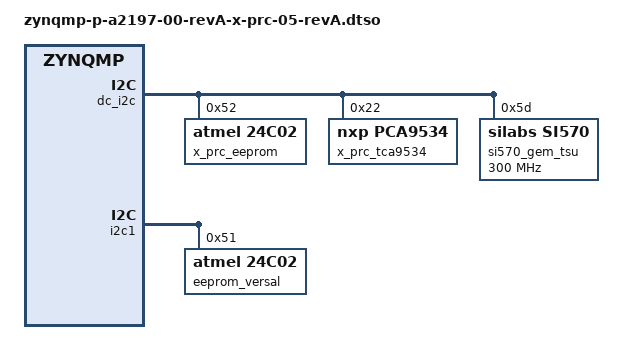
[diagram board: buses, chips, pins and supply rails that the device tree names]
// SPDX-License-Identifier: GPL-2.0
/*
 * dts file for Xilinx ZynqMP System Controller X-PRC-05 revA (SE5)
 *
 * (C) Copyright 2019 - 2022, Xilinx, Inc.
 * (C) Copyright 2022 - 2023, Advanced Micro Devices, Inc.
 *
 * Michal Simek <michal.simek@amd.com>
 */

/dts-v1/;
/plugin/;

/{
	compatible = "xlnx,zynqmp-x-prc-05-revA", "xlnx,zynqmp-x-prc-05";

	fragment@0 {
		target = <&dc_i2c>;

		__overlay__ {
			#address-cells = <1>;
			#size-cells = <0>;

			x_prc_eeprom: eeprom@52 { /* u120 */
				compatible = "atmel,24c02";
				reg = <0x52>;
			};

			x_prc_tca9534: gpio@22 { /* u121 tca9534 */
				compatible = "nxp,pca9534";
				reg = <0x22>;
				gpio-controller; /* IRQ not connected */
				#gpio-cells = <2>;
				gpio-line-names = "sw4_1", "sw4_2", "sw4_3", "sw4_4",
						  "", "", "", "";
				gtr-sel0 {
					gpio-hog;
					gpios = <0 0>;
					input; /* FIXME add meaning */
					line-name = "sw4_1";
				};
				gtr-sel1 {
					gpio-hog;
					gpios = <1 0>;
					input; /* FIXME add meaning */
					line-name = "sw4_2";
				};
				gtr-sel2 {
					gpio-hog;
					gpios = <2 0>;
					input; /* FIXME add meaning */
					line-name = "sw4_3";
				};
				gtr-sel3 {
					gpio-hog;
					gpios = <3 0>;
					input; /* FIXME add meaning */
					line-name = "sw4_4";
				};
			};

			si570_gem_tsu: clock-generator@5d { /* u164 */
				#clock-cells = <0>;
				compatible = "silabs,si570";
				reg = <0x5d>;
				temperature-stability = <50>;
				factory-fout = <300000000>; /* FIXME */
				clock-frequency = <300000000>;
				clock-output-names = "si570_gem_tsu_clk";
			};
		};
	};

	fragment@1 {
		target = <&i2c1>;
		__overlay__ {
			#address-cells = <1>;
			#size-cells = <0>;

			eeprom_versal: eeprom@51 { /* u153 */
				compatible = "atmel,24c02";
				reg = <0x51>;
			};
		};
	};
};
